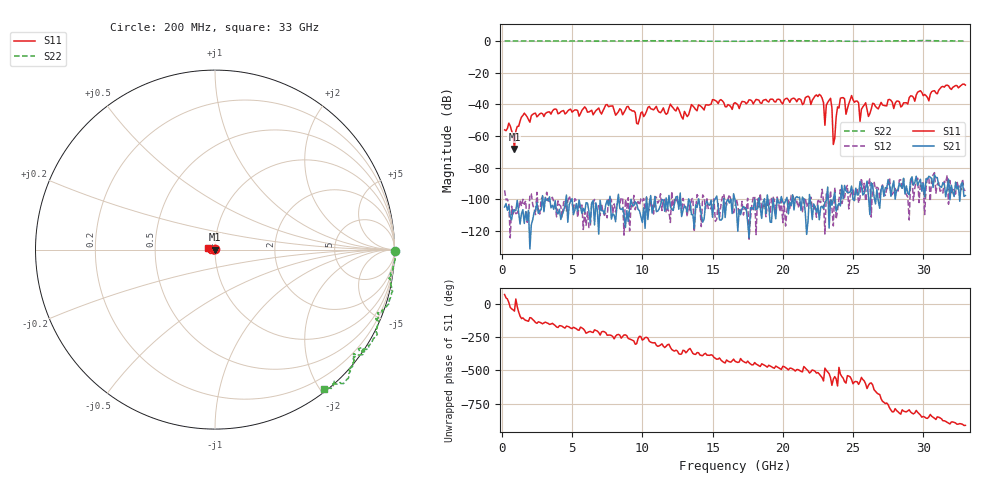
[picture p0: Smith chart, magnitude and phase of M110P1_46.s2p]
# GHZ S RI R 50
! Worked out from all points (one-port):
!   329 points, 200 MHz to 33 GHz, reference 50 ohm
!   lowest |S11| = -68.3 dB at 900 MHz (marker M1), VSWR 1.00, Z = 50 - j0.031 ohm
!   |S11| at or under -10 dB: start of sweep to end of sweep
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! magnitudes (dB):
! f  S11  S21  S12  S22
! 200 MHz  -56.2  -104.9  -94.4  0.0
! 500 MHz  -51.9  -104.0  -103.0  0.0
! 900 MHz  -68.3  -107.5  -106.7  0.0
! 1.6 GHz  -45.7  -115.4  -103.2  0.0
! 5.7 GHz  -43.9  -108.9  -103.7  -0.1
! 11.2 GHz  -45.0  -106.2  -101.0  0.1
! 16.6 GHz  -39.0  -100.4  -105.1  -0.2
! 22.1 GHz  -37.5  -112.9  -105.7  0.1
! 22.8 GHz  -36.1  -104.4  -93.7  0.0
! 23 GHz  -53.3  -102.1  -122.0  0.1
! 23.1 GHz  -40.7  -100.7  -96.6  0.0
! 23.4 GHz  -36.3  -100.5  -94.7  -0.3
! 23.5 GHz  -42.4  -103.8  -106.2  -0.1
! 23.6 GHz  -65.5  -100.0  -116.9  0.0
! 24.1 GHz  -36.2  -104.3  -94.0  -0.1
! 24.5 GHz  -46.3  -94.8  -93.2  -0.2
! 25.3 GHz  -38.0  -97.4  -93.8  -0.3
! 25.5 GHz  -50.9  -88.9  -99.1  -0.3
! 25.9 GHz  -39.1  -92.8  -101.3  -0.2
! 26.1 GHz  -47.8  -97.9  -90.6  -0.2
! 27.6 GHz  -37.0  -90.6  -86.5  -0.1
! 33 GHz  -27.9  -97.8  -94.4  -0.1
